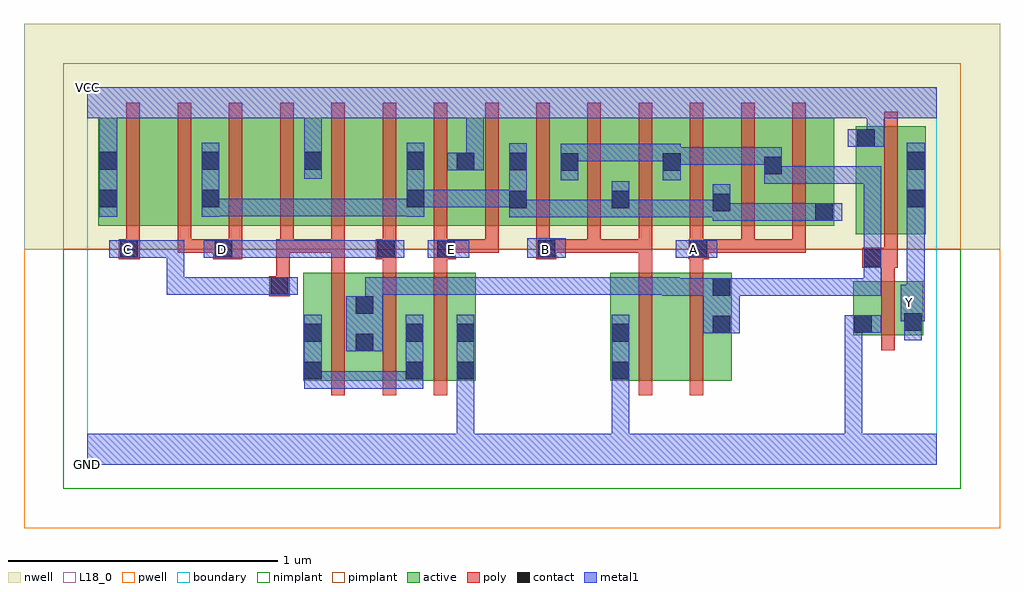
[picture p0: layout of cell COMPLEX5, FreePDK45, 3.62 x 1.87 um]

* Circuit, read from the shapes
.subckt COMPLEX5 A B C D E GND VCC Y
M1 n1 C n2 VSUBS nfet w=0.4u l=0.05u
M2 n2 D n1 VSUBS nfet w=0.4u l=0.05u
M3 GND E n2 VSUBS nfet w=0.4u l=0.05u
M4 n3 B GND VSUBS nfet w=0.4u l=0.05u
M5 n1 A n3 VSUBS nfet w=0.4u l=0.05u
M6 Y n1 GND VSUBS nfet w=0.2u l=0.05u
M7 n4 C VCC n5 pfet w=0.4u l=0.05u
M8 n6 D n4 n5 pfet w=0.4u l=0.05u
M9 n7 D n6 n5 pfet w=0.4u l=0.05u
M10 VCC C n7 n5 pfet w=0.4u l=0.05u
M11 n8 C VCC n5 pfet w=0.4u l=0.05u
M12 n6 D n8 n5 pfet w=0.4u l=0.05u
M13 VCC E n6 n5 pfet w=0.4u l=0.05u m=2
M14 n1 B n6 n5 pfet w=0.4u l=0.05u m=3
M15 n6 A n1 n5 pfet w=0.4u l=0.05u m=3
M16 Y n1 VCC n5 pfet w=0.4u l=0.05u
.ends

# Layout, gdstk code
import gdstk
lib = gdstk.Library(unit=1e-6, precision=1e-09)
def R(c, l, rs):  # rectangles x0, y0, x1, y1
    for r in rs: c.add(gdstk.rectangle(r[:2], r[2:], *l))
def A(c, l, x, y, w, h, nx, ny, dx, dy):  # array of equal rectangles
    R(c, l, [(x+i*dx, y+j*dy, x+i*dx+w, y+j*dy+h) for i in range(nx) for j in range(ny)])
active = (1, 0)
pwell = (2, 0)
nwell = (3, 0)
nimplant = (4, 0)
pimplant = (5, 0)
poly = (9, 0)
contact = (10, 0)
metal1 = (11, 0)
L18_0 = (18, 0)
boundary = (235, 0)

complex5 = lib.new_cell('COMPLEX5')
A(complex5, active, 0.04, 0.887, 0.225, 0.4, 3, 1, 0.38, 0)
A(complex5, active, 0.265, 0.887, 0.23, 0.4, 3, 1, 0.38, 0)
A(complex5, active, 1.56, 0.887, 0.265, 0.4, 3, 1, 0.19, 0)
R(complex5, active, [(0.8,0.312,0.875,0.712), (0.8,0.312,1.065,0.712), (0.99,0.312,1.25,0.712), (1.175,0.312,1.44,0.712), (1.175,0.312,1.25,0.597), (1.365,0.312,1.44,0.712), (1.94,0.312,2.165,0.712), (1.94,0.312,2.015,0.712), (2.165,0.312,2.39,0.712), (0.99,0.33,1.065,0.63), (2.315,0.332,2.39,0.712), (2.84,0.48,2.915,0.68), (2.84,0.48,3.1,0.68), (3.025,0.48,3.1,0.68), (2.85,0.855,3.11,1.255), (3.035,0.855,3.11,1.2), (0.04,0.887,0.115,1.287), (0.42,0.887,0.495,1.2), (0.8,0.887,0.875,1.287), (1.18,0.887,1.44,1.287), (1.18,0.887,1.255,1.2), (1.365,0.887,1.44,1.287), (1.365,0.887,1.635,1.287), (1.56,0.887,1.635,1.2), (1.75,0.887,1.825,1.2), (1.94,0.887,2.015,1.07), (2.13,0.887,2.39,1.287), (2.13,0.887,2.205,1.2), (2.315,0.887,2.58,1.287), (2.315,0.887,2.39,1.07), (2.505,0.887,2.77,1.287), (2.505,0.887,2.58,1.2), (2.695,0.887,2.77,1.047), (2.85,0.907,2.925,1.255)])
R(complex5, pwell, [(-0.235,-0.235,3.385,0.8)])
R(complex5, nwell, [(-0.235,0.8,3.385,1.635)])
R(complex5, nimplant, [(-0.09,-0.09,3.24,0.8)])
R(complex5, pimplant, [(-0.09,0.8,3.24,1.49)])
A(complex5, poly, 0.905, 0.257, 0.05, 0.51, 3, 1, 0.19, 0)
A(complex5, poly, 0.145, 0.787, 0.05, 0.095, 14, 1, 0.19, 0)
A(complex5, poly, 0.145, 0.832, 0.05, 0.51, 14, 1, 0.19, 0)
R(complex5, poly, [(2.045,0.257,2.095,0.767), (2.235,0.257,2.285,0.767), (2.945,0.425,2.995,0.735), (0.675,0.625,0.75,0.7), (0.7,0.65,0.75,0.837), (2.945,0.685,2.995,0.78), (0.905,0.717,0.955,0.837), (1.095,0.717,1.145,0.812), (1.285,0.717,1.335,0.812), (2.045,0.717,2.095,0.837), (2.235,0.717,2.285,0.812), (2.875,0.73,3.005,0.805), (2.955,0.755,3.005,0.85), (0.117,0.762,0.195,0.837), (0.467,0.762,0.575,0.837), (1.07,0.762,1.145,0.837), (1.285,0.762,1.367,0.837), (1.665,0.762,1.74,0.837), (2.23,0.762,2.305,0.837), (0.335,0.787,0.385,0.837), (0.335,0.787,0.517,0.837), (0.467,0.787,0.517,0.837), (0.467,0.787,0.517,0.837), (0.7,0.787,0.75,0.837), (0.7,0.787,0.75,0.837), (0.7,0.787,0.765,0.837), (0.715,0.787,0.955,0.837), (0.905,0.787,0.955,0.837), (0.905,0.787,0.955,0.837), (0.905,0.787,0.955,0.837), (1.317,0.787,1.525,0.837), (1.475,0.787,1.525,0.837), (1.475,0.787,1.525,0.837), (1.475,0.787,1.525,0.837), (1.69,0.787,1.74,0.837), (1.69,0.787,1.74,0.837), (1.69,0.787,1.905,0.837), (1.855,0.787,1.905,0.837), (1.855,0.787,2.095,0.837), (2.045,0.787,2.095,0.837), (2.045,0.787,2.095,0.837), (2.045,0.787,2.095,0.837), (2.255,0.787,2.475,0.837), (2.425,0.787,2.475,0.837), (2.425,0.787,2.475,0.837), (2.425,0.787,2.475,0.837), (2.425,0.787,2.665,0.837), (2.615,0.787,2.665,0.837), (2.615,0.787,2.665,0.837), (2.615,0.787,2.665,0.837), (2.955,0.8,3.005,1.31)])
A(complex5, contact, 0.045, 1.095, 0.065, 0.065, 4, 1, 0.38, 0)
R(complex5, contact, [(0.805,0.317,0.87,0.382), (1.18,0.317,1.245,0.382), (1.37,0.317,1.435,0.382), (1.945,0.317,2.01,0.382), (0.995,0.42,1.06,0.485), (0.805,0.457,0.87,0.522), (1.18,0.457,1.245,0.522), (1.37,0.457,1.435,0.522), (1.945,0.457,2.01,0.522), (2.32,0.487,2.385,0.552), (2.845,0.49,2.91,0.555), (3.03,0.497,3.095,0.562), (0.995,0.56,1.06,0.625), (2.32,0.627,2.385,0.692), (0.68,0.63,0.745,0.695), (2.88,0.735,2.945,0.8), (0.122,0.767,0.187,0.832), (0.472,0.767,0.537,0.832), (1.075,0.767,1.14,0.832), (1.297,0.767,1.362,0.832), (1.67,0.767,1.735,0.832), (2.235,0.767,2.3,0.832), (2.7,0.905,2.765,0.97), (2.32,0.94,2.385,1.005), (1.565,0.952,1.63,1.017), (1.945,0.952,2.01,1.017), (0.045,0.955,0.11,1.02), (0.425,0.955,0.49,1.02), (1.185,0.955,1.25,1.02), (3.04,0.955,3.105,1.02), (2.51,1.077,2.575,1.142), (1.755,1.09,1.82,1.155), (2.135,1.09,2.2,1.155), (1.37,1.092,1.435,1.157), (1.565,1.092,1.63,1.157), (3.04,1.095,3.105,1.16), (2.855,1.18,2.92,1.245)])
R(complex5, metal1, [(0,0,3.15,0.115), (1.37,0.05,1.435,0.115), (1.37,0.05,1.435,0.115), (1.37,0.05,1.435,0.115), (1.37,0.05,1.435,0.115), (1.37,0.05,1.435,0.347), (1.945,0.05,2.01,0.115), (1.945,0.05,2.01,0.115), (1.945,0.05,2.01,0.115), (1.945,0.05,2.01,0.115), (1.945,0.05,2.01,0.347), (2.81,0.05,2.875,0.115), (2.81,0.05,2.875,0.115), (2.81,0.05,2.875,0.555), (0.805,0.282,0.87,0.557), (0.805,0.282,0.87,0.347), (0.805,0.282,0.87,0.347), (0.805,0.282,1.107,0.347), (1.042,0.282,1.107,0.347), (1.042,0.282,1.107,0.347), (1.042,0.282,1.107,0.347), (1.042,0.282,1.245,0.347), (1.18,0.282,1.245,0.557), (1.37,0.282,1.435,0.557), (1.945,0.282,2.01,0.557), (0.96,0.42,1.095,0.625), (3.03,0.462,3.095,0.597), (2.285,0.487,2.42,0.692), (2.81,0.49,2.875,0.555), (2.81,0.49,2.875,0.555), (2.81,0.49,2.875,0.555), (2.81,0.49,2.875,0.555), (2.81,0.49,2.875,0.555), (2.81,0.49,2.875,0.555), (2.81,0.49,2.945,0.555), (3.017,0.532,3.105,0.667), (3.03,0.532,3.095,0.597), (1.03,0.56,1.095,0.625), (1.03,0.56,1.095,0.695), (3.04,0.602,3.105,0.985), (2.132,0.627,2.197,0.692), (2.132,0.627,2.197,0.692), (2.132,0.627,2.35,0.692), (2.132,0.627,2.197,0.695), (2.355,0.627,2.557,0.692), (2.492,0.627,2.557,0.692), (2.492,0.627,2.557,0.692), (2.492,0.627,2.557,0.692), (2.492,0.627,2.737,0.692), (2.672,0.627,2.737,0.692), (2.672,0.627,2.737,0.692), (2.672,0.627,2.737,0.692), (2.672,0.627,2.945,0.692), (2.88,0.627,2.945,0.692), (2.88,0.627,2.945,0.765), (0.295,0.63,0.36,0.695), (0.295,0.63,0.497,0.695), (0.295,0.63,0.36,0.832), (0.432,0.63,0.497,0.695), (0.432,0.63,0.71,0.695), (0.645,0.63,0.71,0.695), (0.645,0.63,0.71,0.695), (0.645,0.63,0.71,0.695), (0.645,0.63,0.71,0.695), (0.645,0.63,0.78,0.695), (1.03,0.63,1.245,0.695), (1.18,0.63,1.245,0.695), (1.18,0.63,1.245,0.695), (1.18,0.63,1.245,0.695), (1.18,0.63,1.492,0.695), (1.427,0.63,1.492,0.695), (1.427,0.63,1.492,0.695), (1.427,0.63,1.492,0.695), (1.427,0.63,1.682,0.695), (1.617,0.63,1.682,0.695), (1.617,0.63,1.682,0.695), (1.617,0.63,1.682,0.695), (1.617,0.63,1.872,0.695), (1.807,0.63,1.872,0.695), (1.807,0.63,1.872,0.695), (1.807,0.63,1.872,0.695), (1.807,0.63,2.06,0.695), (1.995,0.63,2.06,0.695), (1.995,0.63,2.06,0.695), (1.995,0.63,2.06,0.695), (1.995,0.63,2.197,0.695), (2.88,0.7,2.945,0.765), (2.88,0.7,2.945,0.765), (2.88,0.7,2.945,0.765), (2.88,0.7,2.945,0.765), (2.88,0.7,2.945,0.835), (2.88,0.7,2.945,1.107), (0.082,0.767,0.222,0.832), (0.157,0.767,0.222,0.832), (0.157,0.767,0.222,0.832), (0.157,0.767,0.36,0.832), (0.295,0.767,0.36,0.832), (0.295,0.767,0.36,0.832), (0.295,0.767,0.36,0.832), (0.432,0.767,0.572,0.832), (0.507,0.767,0.732,0.832), (0.667,0.767,0.732,0.832), (0.667,0.767,0.732,0.832), (0.667,0.767,0.732,0.832), (0.667,0.767,0.887,0.832), (0.822,0.767,0.887,0.832), (0.822,0.767,0.887,0.832), (0.822,0.767,0.887,0.832), (0.822,0.767,1.105,0.832), (1.04,0.767,1.105,0.832), (1.04,0.767,1.105,0.832), (1.04,0.767,1.175,0.832), (1.262,0.767,1.417,0.832), (1.632,0.767,1.775,0.84), (2.182,0.767,2.337,0.832), (2.32,0.905,2.385,1.04), (2.32,0.905,2.557,0.97), (2.492,0.905,2.557,0.97), (2.492,0.905,2.557,0.97), (2.492,0.905,2.557,0.97), (2.492,0.905,2.73,0.97), (2.665,0.905,2.73,0.97), (2.665,0.905,2.73,0.97), (2.665,0.905,2.8,0.97), (1.565,0.917,1.63,1.192), (1.565,0.917,1.63,0.982), (1.565,0.917,1.63,0.982), (1.565,0.917,1.872,0.982), (1.807,0.917,1.872,0.982), (1.807,0.917,1.872,0.982), (1.807,0.917,1.872,0.982), (1.807,0.917,2.01,0.982), (1.945,0.917,2.01,0.982), (1.945,0.917,2.01,0.982), (1.945,0.917,2.01,1.052), (1.945,0.917,2.212,0.982), (2.147,0.917,2.212,0.982), (2.147,0.917,2.212,0.982), (2.147,0.917,2.212,0.982), (2.147,0.917,2.385,0.982), (0.045,0.92,0.11,1.195), (0.425,0.92,0.49,1.195), (1.185,0.92,1.25,1.195), (3.04,0.92,3.105,1.195), (0.425,0.922,0.497,0.987), (0.432,0.922,0.497,0.987), (0.432,0.922,0.71,0.987), (0.645,0.922,0.71,0.987), (0.645,0.922,0.71,0.987), (0.645,0.922,0.71,0.987), (0.645,0.922,0.87,0.987), (0.805,0.922,0.87,0.987), (0.805,0.922,0.87,0.987), (0.805,0.922,0.87,0.987), (0.805,0.922,1.107,0.987), (1.042,0.922,1.107,0.987), (1.042,0.922,1.107,0.987), (1.042,0.922,1.107,0.987), (1.042,0.922,1.25,0.987), (1.185,0.955,1.25,1.02), (1.185,0.955,1.25,1.02), (1.185,0.955,1.492,1.02), (1.427,0.955,1.492,1.02), (1.427,0.955,1.492,1.02), (1.427,0.955,1.492,1.02), (1.427,0.955,1.63,1.02), (2.51,1.042,2.575,1.177), (2.51,1.042,2.712,1.107), (2.647,1.042,2.712,1.107), (2.647,1.042,2.712,1.107), (2.647,1.042,2.712,1.107), (2.647,1.042,2.945,1.107), (2.88,1.042,2.945,1.107), (1.755,1.055,1.82,1.19), (2.135,1.055,2.2,1.19), (0.805,1.06,0.87,1.195), (1.335,1.092,1.47,1.157), (1.405,1.092,1.47,1.35), (2.135,1.112,2.2,1.177), (2.135,1.112,2.2,1.177), (2.135,1.112,2.42,1.177), (2.355,1.112,2.42,1.177), (2.355,1.112,2.575,1.177), (2.51,1.112,2.575,1.177), (2.51,1.112,2.575,1.177), (1.755,1.125,1.82,1.19), (1.755,1.125,1.82,1.19), (1.755,1.125,2.01,1.19), (1.945,1.125,2.01,1.19), (1.945,1.125,2.01,1.19), (1.945,1.125,2.01,1.19), (1.945,1.125,2.2,1.19), (0.045,1.13,0.11,1.35), (0.805,1.13,0.87,1.35), (2.82,1.18,2.955,1.245), (2.89,1.18,2.955,1.35), (0,1.285,3.15,1.4)])
R(complex5, L18_0, [(0,0,3.15,0.115), (1.37,0.05,1.435,0.115), (1.37,0.05,1.435,0.115), (1.37,0.05,1.435,0.115), (1.37,0.05,1.435,0.115), (1.37,0.05,1.435,0.347), (1.945,0.05,2.01,0.115), (1.945,0.05,2.01,0.115), (1.945,0.05,2.01,0.115), (1.945,0.05,2.01,0.115), (1.945,0.05,2.01,0.347), (2.81,0.05,2.875,0.115), (2.81,0.05,2.875,0.115), (2.81,0.05,2.875,0.555), (1.37,0.282,1.435,0.557), (1.945,0.282,2.01,0.557), (3.03,0.462,3.095,0.597), (2.81,0.49,2.875,0.555), (2.81,0.49,2.875,0.555), (2.81,0.49,2.875,0.555), (2.81,0.49,2.875,0.555), (2.81,0.49,2.875,0.555), (2.81,0.49,2.875,0.555), (2.81,0.49,2.945,0.555), (3.017,0.532,3.105,0.667), (3.03,0.532,3.095,0.597), (3.017,0.567,3.082,0.632), (3.04,0.602,3.105,0.985), (0.295,0.63,0.36,0.695), (0.295,0.63,0.36,0.832), (0.295,0.63,0.497,0.695), (0.432,0.63,0.497,0.695), (0.432,0.63,0.71,0.695), (0.645,0.63,0.71,0.695), (0.645,0.63,0.71,0.695), (0.645,0.63,0.71,0.695), (0.645,0.63,0.71,0.695), (0.645,0.63,0.78,0.695), (0.082,0.767,0.222,0.832), (0.117,0.767,0.182,0.832), (0.157,0.767,0.222,0.832), (0.157,0.767,0.222,0.832), (0.157,0.767,0.36,0.832), (0.295,0.767,0.36,0.832), (0.295,0.767,0.36,0.832), (0.295,0.767,0.36,0.832), (0.432,0.767,0.572,0.832), (0.467,0.767,0.532,0.832), (0.507,0.767,0.732,0.832), (0.667,0.767,0.732,0.832), (0.667,0.767,0.732,0.832), (0.667,0.767,0.732,0.832), (0.667,0.767,0.887,0.832), (0.822,0.767,0.887,0.832), (0.822,0.767,0.887,0.832), (0.822,0.767,0.887,0.832), (0.822,0.767,1.105,0.832), (1.04,0.767,1.105,0.832), (1.04,0.767,1.105,0.832), (1.04,0.767,1.175,0.832), (1.262,0.767,1.417,0.832), (1.317,0.767,1.382,0.832), (1.632,0.767,1.775,0.84), (1.667,0.767,1.732,0.832), (2.182,0.767,2.337,0.832), (2.217,0.767,2.282,0.832), (0.045,0.92,0.11,1.195), (3.04,0.92,3.105,1.195), (0.805,1.06,0.87,1.195), (1.335,1.092,1.47,1.157), (1.405,1.092,1.47,1.35), (0.045,1.13,0.11,1.35), (0.805,1.13,0.87,1.35), (2.82,1.18,2.955,1.245), (2.89,1.18,2.955,1.35), (0,1.285,3.15,1.4)])
R(complex5, boundary, [(0,0,3.15,1.4)])
complex5.add(gdstk.Label('A', (2.25,0.8), layer=11, texttype=0))
complex5.add(gdstk.Label('B', (1.7,0.8), layer=11, texttype=0))
complex5.add(gdstk.Label('C', (0.15,0.8), layer=11, texttype=0))
complex5.add(gdstk.Label('D', (0.5,0.8), layer=11, texttype=0))
complex5.add(gdstk.Label('E', (1.35,0.8), layer=11, texttype=0))
complex5.add(gdstk.Label('Y', (3.05,0.6), layer=11, texttype=0))
complex5.add(gdstk.Label('VCC', (0,1.4), layer=11, texttype=0))
complex5.add(gdstk.Label('GND', (0,0), layer=11, texttype=0))

lib.write_gds('COMPLEX5.gds')
